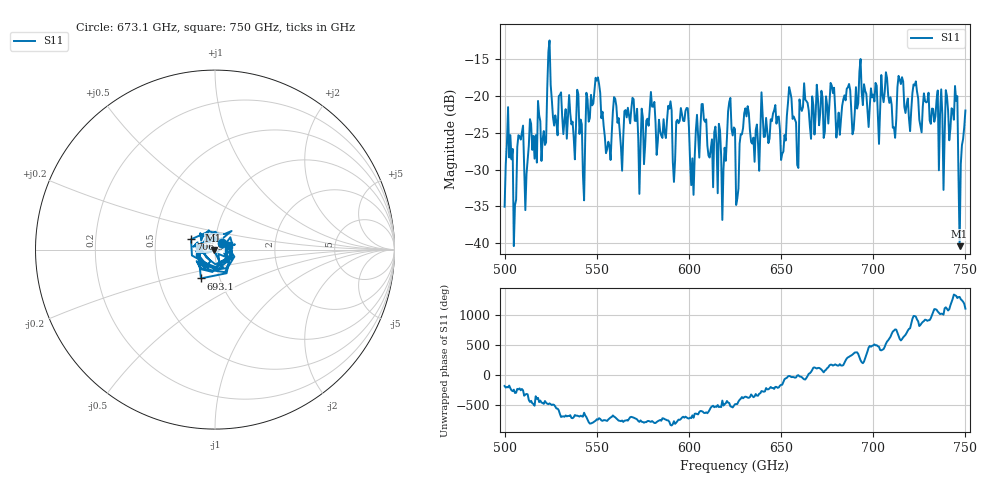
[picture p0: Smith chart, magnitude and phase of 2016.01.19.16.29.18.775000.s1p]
!Created with skrf (http://scikit-rf.org).
# GHz S RI R 50.0
!freq ReS11 ImS11
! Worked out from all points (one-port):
!   401 points, 500 GHz to 750 GHz, reference 50 ohm
!   lowest |S11| = -40.4 dB at 746.9 GHz (marker M1), VSWR 1.02, Z = 49.2 - j0.476 ohm
!   |S11| at or under -10 dB: start of sweep to end of sweep
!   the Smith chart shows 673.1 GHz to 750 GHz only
!   S11 on the Smith chart (normalised r, x): 673.1 GHz: 1.07, +0.08; 693.1 GHz: 0.81, -0.27; 706.9 GHz: 0.76, +0.09; 750 GHz: 1.16, +0.06
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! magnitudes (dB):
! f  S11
! 500 GHz  -35.0
! 501.9 GHz  -21.5
! 505 GHz  -40.4
! 508.8 GHz  -25.9
! 521.2 GHz  -24.8
! 524.4 GHz  -12.4
! 531.2 GHz  -22.8
! 542.5 GHz  -30.7
! 550.6 GHz  -17.5
! 556.2 GHz  -26.2
! 562.5 GHz  -24.9
! 593.8 GHz  -23.2
! 598.8 GHz  -21.6
! 601.9 GHz  -28.5
! 608.1 GHz  -23.2
! 618.8 GHz  -29.9
! 622.5 GHz  -20.3
! 625 GHz  -24.5
! 631.2 GHz  -22.8
! 656.2 GHz  -23.1
! 673.1 GHz  -25.7
! 687.5 GHz  -19.2
! 693.1 GHz  -15.0
! 706.9 GHz  -16.8
! 718.8 GHz  -20.3
! 744.4 GHz  -18.6
! 746.9 GHz  -40.4
! 750 GHz  -22.0
